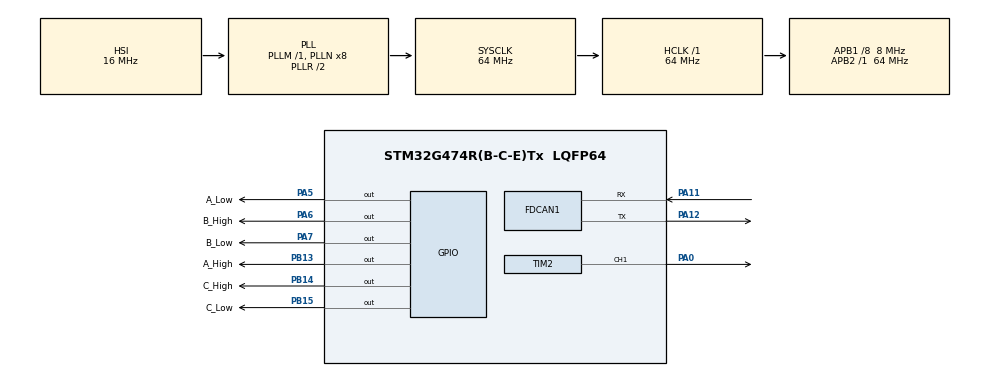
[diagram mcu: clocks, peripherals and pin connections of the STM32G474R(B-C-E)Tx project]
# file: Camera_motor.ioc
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FDCAN1.CalculateBaudRateNominal=125000
FDCAN1.CalculateTimeBitNominal=8000
FDCAN1.CalculateTimeQuantumNominal=250.0
FDCAN1.NominalPrescaler=2
FDCAN1.NominalSyncJumpWidth=4
FDCAN1.NominalTimeSeg1=27
FDCAN1.NominalTimeSeg2=4
Mcu.Family=STM32G4
Mcu.Name=STM32G474R(B-C-E)Tx
Mcu.Package=LQFP64
NVIC.PriorityGroup=NVIC_PRIORITYGROUP_4
PA0.Signal=S_TIM2_CH1
PA11.Mode=FDCAN_Activate
PA11.Signal=FDCAN1_RX
PA12.Mode=FDCAN_Activate
PA12.Signal=FDCAN1_TX
PA5.GPIO_Label=A_Low
PA5.Signal=GPIO_Output
PA6.GPIO_Label=B_High
PA6.Signal=GPIO_Output
PA7.GPIO_Label=B_Low
PA7.Signal=GPIO_Output
PB13.GPIO_Label=A_High
PB13.Signal=GPIO_Output
PB14.GPIO_Label=C_High
PB14.Signal=GPIO_Output
PB15.GPIO_Label=C_Low
PB15.Signal=GPIO_Output
ProjectManager.HeapSize=0x200
ProjectManager.StackSize=0x400
ProjectManager.TargetToolchain=STM32CubeIDE
RCC.ADC12Freq_Value=64000000
RCC.ADC345Freq_Value=64000000
RCC.AHBFreq_Value=64000000
RCC.APB1CLKDivider=RCC_HCLK_DIV8
RCC.APB1Freq_Value=8000000
RCC.APB1TimFreq_Value=16000000
RCC.APB2Freq_Value=64000000
RCC.APB2TimFreq_Value=64000000
RCC.CortexFreq_Value=64000000
RCC.EXTERNAL_CLOCK_VALUE=12288000
RCC.HCLKFreq_Value=64000000
RCC.HSE_VALUE=8000000
RCC.HSI48_VALUE=48000000
RCC.HSI_VALUE=16000000
RCC.LSE_VALUE=32768
RCC.SYSCLKFreq_VALUE=64000000
RCC.SYSCLKSource=RCC_SYSCLKSOURCE_PLLCLK
RCC.USBFreq_Value=64000000
RCC.VCOOutputFreq_Value=128000000
SH.S_TIM2_CH1.0=TIM2_CH1,PWM Generation1 CH1
TIM2.AutoReloadPreload=TIM_AUTORELOAD_PRELOAD_ENABLE
TIM2.Channel-PWM\ Generation1\ CH1=TIM_CHANNEL_1
TIM2.PeriodNoDither=42500-1
TIM2.Prescaler=1
VP_SYS_VS_DBSignals.Mode=DisableDeadBatterySignals
VP_TIM2_VS_ClockSourceINT.Mode=Internal
board=custom

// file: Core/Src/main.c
/* USER CODE BEGIN Header */
/**
  ******************************************************************************
  * @file           : main.c
  * @brief          : Main program body
  ******************************************************************************
  * @attention
  *
  * Copyright (c) 2026 STMicroelectronics.
  * All rights reserved.
  *
  * This software is licensed under terms that can be found in the LICENSE file
  * in the root directory of this software component.
  * If no LICENSE file comes with this software, it is provided AS-IS.
  *
  ******************************************************************************
  */
/* USER CODE END Header */
#include "main.h"

FDCAN_HandleTypeDef hfdcan1;

TIM_HandleTypeDef htim2;

void SystemClock_Config(void);
static void MX_GPIO_Init(void);
static void MX_TIM2_Init(void);
static void MX_FDCAN1_Init(void);

/* USER CODE BEGIN 0 */
// Calculates timer compare value from angle (0-180 degrees) and maps to pulse width between 500 us and 2500 us.
 /* Maps angle to a pulse width between 500µs (0°) and 2500µs (180°) */
static uint32_t calculate_pwm(float angle)
{
    if (angle < 0.0f) angle = 0.0f;
    if (angle > 180.0f) angle = 180.0f;

    return (uint32_t)((angle / 180.0f) * 2000.0f + 500.0f);
}

static void set_servo_angle(float angle)
{
    uint32_t pwm = calculate_pwm(angle);
    __HAL_TIM_SET_COMPARE(&htim2, TIM_CHANNEL_1, pwm);
}
/* USER CODE END 0 */

int main(void)
{

  /* MCU Configuration--------------------------------------------------------*/

  /* Reset of all peripherals, Initializes the Flash interface and the Systick. */
  HAL_Init();

  /* Configure the system clock */
  SystemClock_Config();

  /* Initialize all configured peripherals */
  MX_GPIO_Init();
  MX_TIM2_Init();
  MX_FDCAN1_Init();

  /* USER CODE BEGIN 2 */
 // Starts pwm output and centers servo at 90 degrees at startup
  HAL_TIM_PWM_Start(&htim2, TIM_CHANNEL_1);
  set_servo_angle(90.0f);   // current relative center position

  FDCAN_FilterTypeDef sFilterConfig = {0}; //FDCAN configured to accept standard IDS into RX FIFO0
  sFilterConfig.IdType = FDCAN_STANDARD_ID;
  sFilterConfig.FilterIndex = 0;
  sFilterConfig.FilterType = FDCAN_FILTER_MASK;
  sFilterConfig.FilterConfig = FDCAN_FILTER_TO_RXFIFO0;
  sFilterConfig.FilterID1 = 0x000;
  sFilterConfig.FilterID2 = 0x000;

  if (HAL_FDCAN_ConfigFilter(&hfdcan1, &sFilterConfig) != HAL_OK){
    Error_Handler();
  }

  if (HAL_FDCAN_ConfigGlobalFilter(&hfdcan1,
                                   FDCAN_ACCEPT_IN_RX_FIFO0,
                                   FDCAN_ACCEPT_IN_RX_FIFO0,
                                   FDCAN_FILTER_REMOTE,
                                   FDCAN_FILTER_REMOTE) != HAL_OK){
    Error_Handler();
  }

  if (HAL_FDCAN_Start(&hfdcan1) != HAL_OK){
    Error_Handler();
  }
  /* USER CODE END 2 */

  /* Infinite loop */
  /* USER CODE BEGIN WHILE */
  while (1){
    FDCAN_RxHeaderTypeDef rxHeader;
    uint8_t rxData[8];

    if (HAL_FDCAN_GetRxFifoFillLevel(&hfdcan1, FDCAN_RX_FIFO0) > 0){
      if (HAL_FDCAN_GetRxMessage(&hfdcan1, FDCAN_RX_FIFO0, &rxHeader, rxData) == HAL_OK){

    	uint8_t UUID = (rxHeader.Identifier & 0x03F8) >> 3; //get upper 7 bit UUID (potentially scuffed math)
    	uint8_t command = rxData[0] & 0x7F; //get rid of ACK

    	if(UUID == CAN_UUID_TELEMETRY){
    		switch (command){
    			case (CAN_COMMAND_ID_SERVO_ANGLE):{ //need to ask Hayden about adding this to CAN library
    		        float angle = (float)rxData[0];   // CAN byte should correspond to angle
    		        set_servo_angle(angle);
    			}

    			default:{
    				//meow
    			}
    	}

      }
    }

    /* USER CODE END WHILE */

  }
}

void SystemClock_Config(void)
{
  RCC_OscInitTypeDef RCC_OscInitStruct = {0};
  RCC_ClkInitTypeDef RCC_ClkInitStruct = {0};

  /** Configure the main internal regulator output voltage
  */
  HAL_PWREx_ControlVoltageScaling(PWR_REGULATOR_VOLTAGE_SCALE1);

  /** Initializes the RCC Oscillators according to the specified parameters
  * in the RCC_OscInitTypeDef structure.
  */
  RCC_OscInitStruct.OscillatorType = RCC_OSCILLATORTYPE_HSI;
  RCC_OscInitStruct.HSIState = RCC_HSI_ON;
  RCC_OscInitStruct.HSICalibrationValue = RCC_HSICALIBRATION_DEFAULT;
  RCC_OscInitStruct.PLL.PLLState = RCC_PLL_ON;
  RCC_OscInitStruct.PLL.PLLSource = RCC_PLLSOURCE_HSI;
  RCC_OscInitStruct.PLL.PLLM = RCC_PLLM_DIV1;
  RCC_OscInitStruct.PLL.PLLN = 8;
  RCC_OscInitStruct.PLL.PLLP = RCC_PLLP_DIV2;
  RCC_OscInitStruct.PLL.PLLQ = RCC_PLLQ_DIV2;
  RCC_OscInitStruct.PLL.PLLR = RCC_PLLR_DIV2;
  if (HAL_RCC_OscConfig(&RCC_OscInitStruct) != HAL_OK)
  {
    Error_Handler();
  }

  /** Initializes the CPU, AHB and APB buses clocks
  */
  RCC_ClkInitStruct.ClockType = RCC_CLOCKTYPE_HCLK|RCC_CLOCKTYPE_SYSCLK
                              |RCC_CLOCKTYPE_PCLK1|RCC_CLOCKTYPE_PCLK2;
  RCC_ClkInitStruct.SYSCLKSource = RCC_SYSCLKSOURCE_PLLCLK;
  RCC_ClkInitStruct.AHBCLKDivider = RCC_SYSCLK_DIV1;
  RCC_ClkInitStruct.APB1CLKDivider = RCC_HCLK_DIV8;
  RCC_ClkInitStruct.APB2CLKDivider = RCC_HCLK_DIV1;

  if (HAL_RCC_ClockConfig(&RCC_ClkInitStruct, FLASH_LATENCY_2) != HAL_OK)
  {
    Error_Handler();
  }
}

static void MX_FDCAN1_Init(void)
{

  hfdcan1.Instance = FDCAN1;
  hfdcan1.Init.ClockDivider = FDCAN_CLOCK_DIV1;
  hfdcan1.Init.FrameFormat = FDCAN_FRAME_CLASSIC;
  hfdcan1.Init.Mode = FDCAN_MODE_NORMAL;
  hfdcan1.Init.AutoRetransmission = DISABLE;
  hfdcan1.Init.TransmitPause = DISABLE;
  hfdcan1.Init.ProtocolException = DISABLE;
  hfdcan1.Init.NominalPrescaler = 2;
  hfdcan1.Init.NominalSyncJumpWidth = 4;
  hfdcan1.Init.NominalTimeSeg1 = 27;
  hfdcan1.Init.NominalTimeSeg2 = 4;
  hfdcan1.Init.DataPrescaler = 1;
  hfdcan1.Init.DataSyncJumpWidth = 1;
  hfdcan1.Init.DataTimeSeg1 = 1;
  hfdcan1.Init.DataTimeSeg2 = 1;
  hfdcan1.Init.StdFiltersNbr = 1;
  hfdcan1.Init.ExtFiltersNbr = 0;
  hfdcan1.Init.TxFifoQueueMode = FDCAN_TX_FIFO_OPERATION;
  if (HAL_FDCAN_Init(&hfdcan1) != HAL_OK)
  {
    Error_Handler();
  }

}

static void MX_TIM2_Init(void)
{

  TIM_ClockConfigTypeDef sClockSourceConfig = {0};
  TIM_MasterConfigTypeDef sMasterConfig = {0};
  TIM_OC_InitTypeDef sConfigOC = {0};

  htim2.Instance = TIM2;
  htim2.Init.Prescaler = 15;
  htim2.Init.CounterMode = TIM_COUNTERMODE_UP;
  htim2.Init.Period = 19999;
  htim2.Init.ClockDivision = TIM_CLOCKDIVISION_DIV1;
  htim2.Init.AutoReloadPreload = TIM_AUTORELOAD_PRELOAD_ENABLE;
  if (HAL_TIM_Base_Init(&htim2) != HAL_OK)
  {
    Error_Handler();
  }
  sClockSourceConfig.ClockSource = TIM_CLOCKSOURCE_INTERNAL;
  if (HAL_TIM_ConfigClockSource(&htim2, &sClockSourceConfig) != HAL_OK)
  {
    Error_Handler();
  }
  if (HAL_TIM_PWM_Init(&htim2) != HAL_OK)
  {
    Error_Handler();
  }
  sMasterConfig.MasterOutputTrigger = TIM_TRGO_RESET;
  sMasterConfig.MasterSlaveMode = TIM_MASTERSLAVEMODE_DISABLE;
  if (HAL_TIMEx_MasterConfigSynchronization(&htim2, &sMasterConfig) != HAL_OK)
  {
    Error_Handler();
  }
  sConfigOC.OCMode = TIM_OCMODE_PWM1;
  sConfigOC.Pulse = 0;
  sConfigOC.OCPolarity = TIM_OCPOLARITY_HIGH;
  sConfigOC.OCFastMode = TIM_OCFAST_DISABLE;
  if (HAL_TIM_PWM_ConfigChannel(&htim2, &sConfigOC, TIM_CHANNEL_1) != HAL_OK)
  {
    Error_Handler();
  }
  HAL_TIM_MspPostInit(&htim2);

}

static void MX_GPIO_Init(void)
{
  GPIO_InitTypeDef GPIO_InitStruct = {0};

  /* GPIO Ports Clock Enable */
  __HAL_RCC_GPIOA_CLK_ENABLE();
  __HAL_RCC_GPIOB_CLK_ENABLE();

  /*Configure GPIO pin Output Level */
  HAL_GPIO_WritePin(GPIOA, A_Low_Pin|B_High_Pin|B_Low_Pin, GPIO_PIN_RESET);

  /*Configure GPIO pin Output Level */
  HAL_GPIO_WritePin(GPIOB, A_High_Pin|C_High_Pin|C_Low_Pin, GPIO_PIN_RESET);

  /*Configure GPIO pins : A_Low_Pin B_High_Pin B_Low_Pin */
  GPIO_InitStruct.Pin = A_Low_Pin|B_High_Pin|B_Low_Pin;
  GPIO_InitStruct.Mode = GPIO_MODE_OUTPUT_PP;
  GPIO_InitStruct.Pull = GPIO_NOPULL;
  GPIO_InitStruct.Speed = GPIO_SPEED_FREQ_LOW;
  HAL_GPIO_Init(GPIOA, &GPIO_InitStruct);

  /*Configure GPIO pins : A_High_Pin C_High_Pin C_Low_Pin */
  GPIO_InitStruct.Pin = A_High_Pin|C_High_Pin|C_Low_Pin;
  GPIO_InitStruct.Mode = GPIO_MODE_OUTPUT_PP;
  GPIO_InitStruct.Pull = GPIO_NOPULL;
  GPIO_InitStruct.Speed = GPIO_SPEED_FREQ_LOW;
  HAL_GPIO_Init(GPIOB, &GPIO_InitStruct);

}

void Error_Handler(void)
{
  __disable_irq();
  while (1)
  {
  }
}
